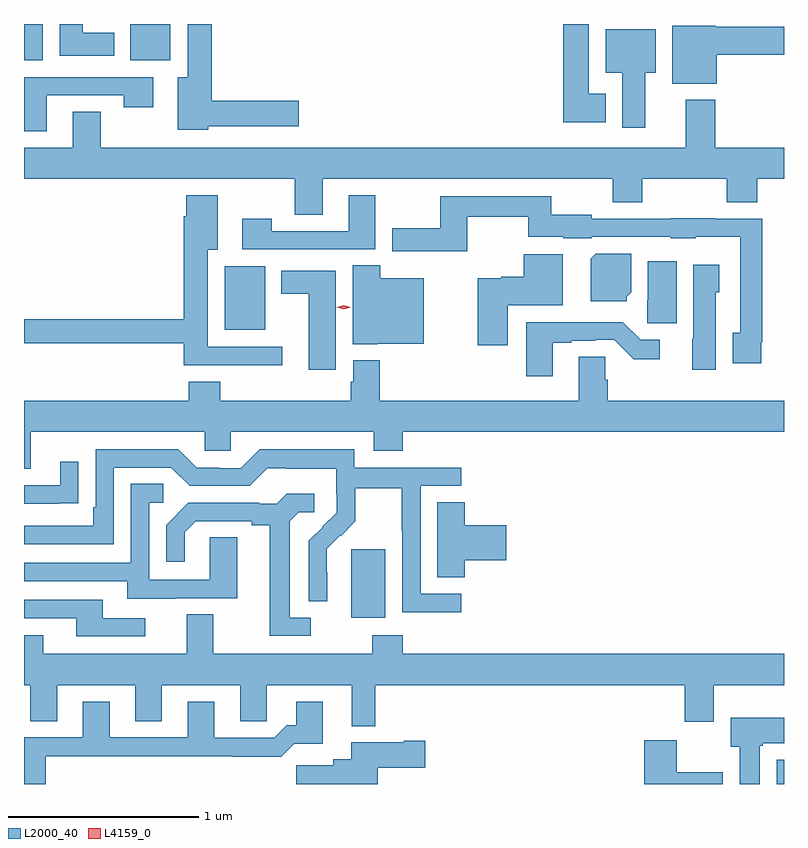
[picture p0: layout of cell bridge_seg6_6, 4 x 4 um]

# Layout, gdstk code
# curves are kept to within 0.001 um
import gdstk
lib = gdstk.Library(unit=1e-6, precision=1e-09)
def R(c, l, rs):  # rectangles x0, y0, x1, y1
    for r in rs: c.add(gdstk.rectangle(r[:2], r[2:], *l))
def P(c, l, *ps):  # polygons
    for p in ps: c.add(gdstk.Polygon(p, *l))
L2000_40 = (2000, 40)
L4159_0 = (4159, 0)

bridge_seg6_6 = lib.new_cell('bridge_seg6_6')
R(bridge_seg6_6, L2000_40, [(976.55,962.799,976.589,962.926), (974.312,963.674,974.491,964.035), (973.646,965.189,973.858,965.524), (972.589,966.608,972.688,966.799), (973.148,966.608,973.36,966.799)])
P(bridge_seg6_6, L2000_40, [(975.652,966.433),(975.562,966.433),(975.562,966.799),(975.428,966.799),(975.428,966.281),(975.652,966.281)],
  [(973.56,966.26),(974.035,966.26),(974.035,966.395),(973.577,966.395),(973.577,966.799),(973.451,966.799),(973.451,966.52),(973.397,966.52),(973.397,966.242),(973.56,966.242)],
  [(973.063,966.754),(972.898,966.754),(972.898,966.799),(972.776,966.799),(972.776,966.632),(973.063,966.632)],
  [(976.234,966.638),(976.589,966.638),(976.589,966.785),(976.23,966.785),(976.23,966.79),(976.001,966.79),(976.001,966.485),(976.234,966.485)],
  [(975.859,966.542),(975.913,966.542),(975.913,966.772),(975.65,966.772),(975.65,966.542),(975.737,966.542),(975.737,966.252),(975.859,966.252)],
  [(972.709,966.423),(973.114,966.423),(973.114,966.36),(973.27,966.36),(973.27,966.519),(972.589,966.519),(972.589,966.234),(972.709,966.234)],
  [(974.161,965.984),(975.688,965.984),(975.688,965.86),(975.843,965.86),(975.843,965.984),(976.288,965.984),(976.288,965.86),(976.448,965.86),(976.448,965.984),(976.589,965.984),(976.589,966.148),(976.226,966.148),(976.226,966.4),(976.073,966.4),(976.073,966.148),(972.993,966.148),(972.993,966.338),(972.845,966.338),(972.845,966.148),(972.589,966.148),(972.589,965.984),(974.014,965.984),(974.014,965.794),(974.161,965.794)],
  [(973.948,965.1),(973.555,965.1),(973.555,965.612),(973.609,965.612),(973.609,965.899),(973.442,965.899),(973.442,965.786),(973.43,965.786),(973.43,965.246),(972.589,965.246),(972.589,965.118),(973.43,965.118),(973.43,965.003),(973.948,965.003)],
  [(974.437,965.899),(974.297,965.899),(974.297,965.709),(973.893,965.709),(973.893,965.773),(973.737,965.773),(973.737,965.613),(974.437,965.613)],
  [(976.468,965.125),(976.475,965.125),(976.475,965.775),(976.225,965.775),(976.225,965.777),(975.993,965.777),(975.993,965.775),(975.576,965.775),(975.576,965.794),(975.364,965.794),(975.364,965.892),(974.779,965.892),(974.779,965.725),(974.526,965.725),(974.526,965.603),(974.922,965.603),(974.922,965.784),(975.243,965.784),(975.243,965.678),(975.426,965.678),(975.426,965.672),(975.576,965.672),(975.576,965.679),(975.993,965.679),(975.993,965.672),(976.125,965.672),(976.125,965.678),(976.359,965.678),(976.359,965.174),(976.319,965.174),(976.319,965.013),(976.468,965.013)],
  [(975.762,965.364),(975.784,965.386),(975.784,965.59),(975.598,965.59),(975.572,965.564),(975.572,965.339),(975.762,965.339)],
  [(975.136,965.318),(975.424,965.318),(975.424,965.588),(975.218,965.588),(975.218,965.469),(975.102,965.469),(975.102,965.461),(974.978,965.461),(974.978,965.109),(975.136,965.109)],
  [(976.024,965.551),(975.872,965.551),(975.872,965.346),(975.868,965.346),(975.868,965.223),(976.024,965.223)],
  [(976.231,965.388),(976.249,965.388),(976.249,965.533),(976.112,965.533),(976.112,965.142),(976.106,965.142),(976.106,964.98),(976.231,964.98)],
  [(974.448,965.117),(974.692,965.117),(974.692,965.461),(974.465,965.461),(974.465,965.528),(974.318,965.528),(974.318,965.114),(974.448,965.114)],
  [(974.23,965.5),(973.943,965.5),(973.943,965.378),(974.087,965.378),(974.087,964.98),(974.23,964.98)],
  [(975.373,965.121),(975.469,965.121),(975.469,965.133),(975.596,965.133),(975.596,965.136),(975.696,965.136),(975.799,965.034),(975.934,965.034),(975.934,965.136),(975.834,965.136),(975.74,965.23),(975.233,965.23),(975.233,964.944),(975.373,964.944)],
  [(972.625,964.652),(973.539,964.652),(973.539,964.554),(973.677,964.554),(973.677,964.652),(974.429,964.652),(974.429,964.553),(974.582,964.553),(974.582,964.652),(976.589,964.652),(976.589,964.816),(975.662,964.816),(975.662,964.926),(975.648,964.926),(975.648,965.048),(975.509,965.048),(975.509,964.816),(974.462,964.816),(974.462,965.029),(974.321,965.029),(974.321,964.917),(974.309,964.917),(974.309,964.816),(973.622,964.816),(973.622,964.915),(973.457,964.915),(973.457,964.816),(972.589,964.816),(972.589,964.458),(972.625,964.458)],
  [(974.89,963.801),(974.676,963.801),(974.676,964.368),(974.89,964.368),(974.89,964.464),(974.328,964.464),(974.328,964.561),(973.831,964.561),(973.731,964.461),(973.616,964.461),(973.616,964.464),(973.497,964.464),(973.401,964.56),(972.966,964.56),(972.966,964.255),(972.953,964.255),(972.953,964.158),(972.589,964.158),(972.589,964.062),(973.062,964.062),(973.062,964.464),(973.365,964.464),(973.461,964.368),(973.776,964.368),(973.869,964.461),(973.969,964.461),(973.969,964.457),(974.232,964.457),(974.232,964.323),(974.234,964.323),(974.234,964.226),(974.088,964.078),(974.088,963.76),(974.184,963.76),(974.183,964.037),(974.253,964.107),(974.256,964.104),(974.333,964.181),(974.333,964.356),(974.578,964.356),(974.578,964.132),(974.58,964.132),(974.58,963.703),(974.89,963.703)],
  [(972.773,964.276),(972.875,964.276),(972.875,964.495),(972.779,964.495),(972.779,964.371),(972.589,964.371),(972.589,964.275),(972.773,964.275)],
  [(973.387,963.777),(973.711,963.777),(973.711,964.097),(973.566,964.097),(973.566,963.873),(973.248,963.873),(973.248,964.278),(973.321,964.278),(973.321,964.379),(973.152,964.379),(973.152,963.963),(972.589,963.963),(972.589,963.867),(973.133,963.867),(973.133,963.773),(973.387,963.773)],
  [(974.098,963.675),(973.987,963.675),(973.987,964.183),(974.034,964.23),(974.116,964.23),(974.116,964.327),(973.972,964.327),(973.92,964.275),(973.826,964.275),(973.826,964.278),(973.454,964.278),(973.338,964.162),(973.338,963.969),(973.435,963.969),(973.435,964.125),(973.492,964.182),(973.787,964.182),(973.787,964.16),(973.883,964.16),(973.883,963.579),(974.098,963.579)],
  [(974.909,963.977),(975.127,963.977),(975.127,964.16),(974.909,964.16),(974.909,964.283),(974.765,964.283),(974.765,963.886),(974.909,963.886)],
  [(973.228,963.672),(973.003,963.672),(973.003,963.768),(972.589,963.768),(972.589,963.672),(972.863,963.672),(972.863,963.576),(973.228,963.576)],
  [(972.589,963.583),(972.589,963.32),(972.623,963.32),(972.623,963.13),(972.763,963.13),(972.763,963.32),(973.175,963.32),(973.175,963.13),(973.315,963.13),(973.315,963.32),(973.727,963.32),(973.727,963.13),(973.866,963.13),(973.866,963.32),(974.315,963.32),(974.315,963.104),(974.437,963.104),(974.437,963.32),(976.067,963.32),(976.067,963.126),(976.219,963.126),(976.219,963.32),(976.589,963.32),(976.589,963.484),(974.582,963.484),(974.582,963.583),(974.422,963.583),(974.422,963.484),(973.585,963.484),(973.585,963.692),(973.445,963.692),(973.445,963.484),(972.691,963.484),(972.691,963.583)],
  [(972.703,962.944),(973.687,962.944),(973.687,962.942),(973.943,962.942),(974.012,963.011),(974.161,963.011),(974.161,963.232),(974.021,963.232),(974.021,963.109),(973.972,963.109),(973.905,963.042),(973.591,963.042),(973.591,963.232),(973.451,963.232),(973.451,963.045),(973.039,963.045),(973.039,963.232),(972.899,963.232),(972.899,963.045),(972.589,963.045),(972.589,962.799),(972.703,962.799)],
  [(976.462,963.001),(976.476,963.001),(976.476,963.014),(976.589,963.014),(976.589,963.148),(976.31,963.148),(976.31,962.994),(976.355,962.994),(976.355,962.799),(976.462,962.799)],
  [(976.267,962.86),(976.024,962.86),(976.024,963.028),(975.854,963.028),(975.854,962.799),(976.267,962.799)],
  [(974.452,962.885),(974.701,962.885),(974.701,963.027),(974.588,963.027),(974.588,963.019),(974.312,963.019),(974.312,962.929),(974.216,962.929),(974.216,962.897),(974.022,962.897),(974.022,962.799),(974.452,962.799)])
P(bridge_seg6_6, L4159_0, [(974.272,965.298),(974.234,965.307),(974.233,965.307),(974.234,965.308),(974.272,965.318),(974.31,965.308),(974.31,965.308),(974.31,965.308)])

lib.write_gds('bridge_seg6_6.gds')
